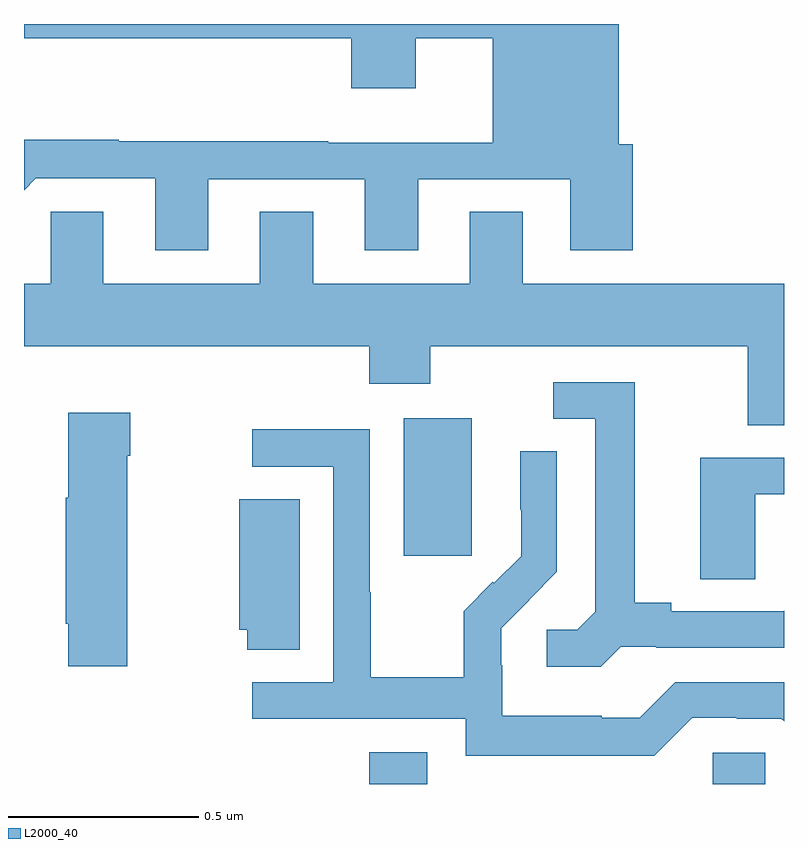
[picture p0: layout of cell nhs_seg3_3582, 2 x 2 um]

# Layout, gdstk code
import gdstk
lib = gdstk.Library(unit=1e-6, precision=1e-09)
def R(c, l, rs):  # rectangles x0, y0, x1, y1
    for r in rs: c.add(gdstk.rectangle(r[:2], r[2:], *l))
def P(c, l, *ps):  # polygons
    for p in ps: c.add(gdstk.Polygon(p, *l))
L2000_40 = (2000, 40)

nhs_seg3_3582 = lib.new_cell('nhs_seg3_3582')
R(nhs_seg3_3582, L2000_40, [(155.909,730.4,156.061,730.483), (156.813,730.4,156.951,730.482), (155.999,731.001,156.178,731.362)])
P(nhs_seg3_3582, L2000_40, [(155.485,731.991),(155.897,731.991),(155.897,731.805),(156.037,731.805),(156.037,731.991),(156.437,731.991),(156.437,731.805),(156.602,731.805),(156.602,732.084),(156.565,732.084),(156.565,732.4),(155,732.4),(155,732.362),(155.861,732.362),(155.861,732.231),(156.031,732.231),(156.031,732.362),(156.233,732.362),(156.233,732.088),(155.801,732.088),(155.801,732.092),(155.249,732.092),(155.249,732.095),(155,732.095),(155,731.963),(155.031,731.994),(155.345,731.994),(155.345,731.805),(155.485,731.805)],
  [(157,731.716),(156.313,731.716),(156.313,731.906),(156.173,731.906),(156.173,731.716),(155.761,731.716),(155.761,731.906),(155.621,731.906),(155.621,731.716),(155.209,731.716),(155.209,731.906),(155.07,731.906),(155.07,731.716),(155,731.716),(155,731.552),(155.909,731.552),(155.909,731.453),(156.069,731.453),(156.069,731.552),(156.905,731.552),(156.905,731.344),(157,731.344)],
  [(156.57,730.761),(156.664,730.761),(156.664,730.758),(157,730.758),(157,730.856),(156.998,730.854),(156.703,730.854),(156.703,730.877),(156.607,730.877),(156.607,731.457),(156.393,731.457),(156.393,731.361),(156.503,731.361),(156.503,730.853),(156.456,730.806),(156.375,730.806),(156.375,730.709),(156.518,730.709)],
  [(155.272,731.264),(155.28,731.264),(155.28,731.377),(155.117,731.377),(155.117,731.153),(155.11,731.153),(155.11,730.822),(155.117,730.822),(155.117,730.71),(155.272,730.71)],
  [(156.759,730.575),(156.875,730.575),(156.875,730.572),(156.993,730.572),(157,730.565),(157,730.668),(156.714,730.668),(156.621,730.575),(156.521,730.575),(156.521,730.579),(156.258,730.579),(156.258,730.713),(156.256,730.713),(156.256,730.81),(156.33,730.884),(156.329,730.885),(156.402,730.958),(156.402,731.276),(156.306,731.276),(156.306,731.122),(156.308,731.122),(156.308,731),(156.237,730.929),(156.234,730.932),(156.157,730.855),(156.157,730.681),(155.913,730.681),(155.913,730.904),(155.91,730.904),(155.91,731.334),(155.601,731.334),(155.601,731.235),(155.814,731.235),(155.814,730.668),(155.601,730.668),(155.601,730.572),(156.162,730.572),(156.162,730.475),(156.659,730.475)],
  [(156.924,731.163),(157,731.163),(157,731.259),(156.779,731.259),(156.779,730.939),(156.924,730.939)],
  [(155.725,731.15),(155.567,731.15),(155.567,730.806),(155.587,730.806),(155.587,730.753),(155.725,730.753)])

lib.write_gds('nhs_seg3_3582.gds')
